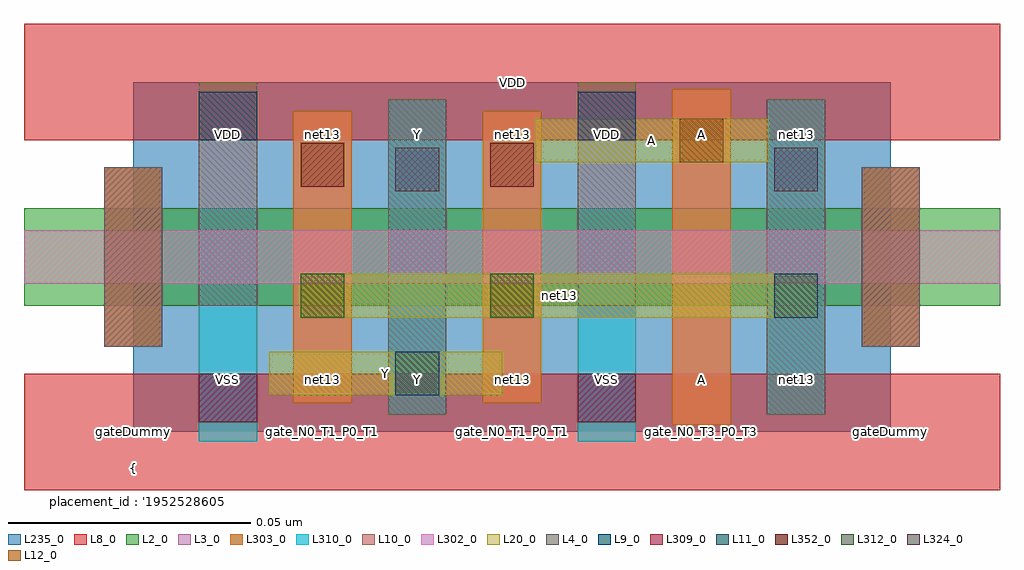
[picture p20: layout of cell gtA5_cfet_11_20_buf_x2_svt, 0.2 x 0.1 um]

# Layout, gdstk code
import gdstk
lib = gdstk.Library(unit=1e-6, precision=2.5e-10)
def R(c, l, rs):  # rectangles x0, y0, x1, y1
    for r in rs: c.add(gdstk.rectangle(r[:2], r[2:], *l))
L2_0 = (2, 0)
L3_0 = (3, 0)
L4_0 = (4, 0)
L8_0 = (8, 0)
L9_0 = (9, 0)
L10_0 = (10, 0)
L11_0 = (11, 0)
L12_0 = (12, 0)
L20_0 = (20, 0)
L235_0 = (235, 0)
L302_0 = (302, 0)
L303_0 = (303, 0)
L309_0 = (309, 0)
L310_0 = (310, 0)
L312_0 = (312, 0)
L324_0 = (324, 0)
L352_0 = (352, 0)

gta5_cfet_11_20_buf_x2_s = lib.new_cell('gtA5_cfet_11_20_buf_x2_svt')
R(gta5_cfet_11_20_buf_x2_s, L2_0, [(-0.0225,0.026,0.1785,0.046)])
R(gta5_cfet_11_20_buf_x2_s, L3_0, [(0.111,0.0015,0.123,0.0705), (0.033,0.006,0.045,0.066), (0.072,0.006,0.084,0.066), (-0.006,0.0175,0.006,0.0545), (0.15,0.0175,0.162,0.0545)])
R(gta5_cfet_11_20_buf_x2_s, L4_0, [(-0.006,0.0175,0.006,0.0545), (0.15,0.0175,0.162,0.0545)])
R(gta5_cfet_11_20_buf_x2_s, L8_0, [(-0.0225,-0.012,0.1785,0.012), (-0.0225,0.06,0.1785,0.084)])
R(gta5_cfet_11_20_buf_x2_s, L9_0, [(0.0135,0.06,0.0255,0.07), (0.0915,0.06,0.1035,0.07)])
R(gta5_cfet_11_20_buf_x2_s, L10_0, [(0.0525,0.0035,0.0645,0.0685), (0.1305,0.0035,0.1425,0.0685), (0.0135,0.026,0.0255,0.072), (0.0915,0.026,0.1035,0.072)])
R(gta5_cfet_11_20_buf_x2_s, L11_0, [(0.054,0.0075,0.063,0.0165), (0.132,0.0235,0.141,0.0325)])
R(gta5_cfet_11_20_buf_x2_s, L12_0, [(0.1125,0.0555,0.1215,0.0645)])
R(gta5_cfet_11_20_buf_x2_s, L20_0, [(0.028,0.0075,0.076,0.0165), (0.0345,0.0235,0.141,0.0325), (0.0828,0.0555,0.1308,0.0645)])
R(gta5_cfet_11_20_buf_x2_s, L235_0, [(0,0,0.156,0.072)])
R(gta5_cfet_11_20_buf_x2_s, L302_0, [(-0.0225,0.0305,0.1785,0.0415)])
R(gta5_cfet_11_20_buf_x2_s, L303_0, [(0.111,0.0015,0.123,0.0705), (0.033,0.006,0.045,0.066), (0.072,0.006,0.084,0.066), (-0.006,0.0175,0.006,0.0545), (0.15,0.0175,0.162,0.0545)])
R(gta5_cfet_11_20_buf_x2_s, L309_0, [(0.0135,0.002,0.0255,0.012), (0.0915,0.002,0.1035,0.012)])
R(gta5_cfet_11_20_buf_x2_s, L310_0, [(0.0135,-0.002,0.0255,0.046), (0.0915,-0.002,0.1035,0.046), (0.0525,0.0035,0.0645,0.0685), (0.1305,0.0035,0.1425,0.0685)])
R(gta5_cfet_11_20_buf_x2_s, L312_0, [(0.0345,0.0235,0.0435,0.0325), (0.0735,0.0235,0.0825,0.0325)])
R(gta5_cfet_11_20_buf_x2_s, L324_0, [(0.054,0.0495,0.063,0.0585), (0.132,0.0495,0.141,0.0585)])
R(gta5_cfet_11_20_buf_x2_s, L352_0, [(0.0345,0.0505,0.0435,0.0595), (0.0735,0.0505,0.0825,0.0595)])
gta5_cfet_11_20_buf_x2_s.add(gdstk.Label('net13', (0.0878,0.028), layer=100, texttype=100))
gta5_cfet_11_20_buf_x2_s.add(gdstk.Label('gateDummy', (0,0), layer=103, texttype=103))
gta5_cfet_11_20_buf_x2_s.add(gdstk.Label('sd_N0_VSS_P0_VDD', (0.0195,0), layer=103, texttype=103))
gta5_cfet_11_20_buf_x2_s.add(gdstk.Label('gate_N0_T1_P0_T1', (0.039,0), layer=103, texttype=103))
gta5_cfet_11_20_buf_x2_s.add(gdstk.Label('sd_N0_T0_P0_T0', (0.0585,0), layer=103, texttype=103))
gta5_cfet_11_20_buf_x2_s.add(gdstk.Label('gate_N0_T1_P0_T1', (0.078,0), layer=103, texttype=103))
gta5_cfet_11_20_buf_x2_s.add(gdstk.Label('sd_N0_VSS_P0_VDD', (0.0975,0), layer=103, texttype=103))
gta5_cfet_11_20_buf_x2_s.add(gdstk.Label('gate_N0_T3_P0_T3', (0.117,0), layer=103, texttype=103))
gta5_cfet_11_20_buf_x2_s.add(gdstk.Label('sd_N0_T1_P0_T1', (0.1365,0), layer=103, texttype=103))
gta5_cfet_11_20_buf_x2_s.add(gdstk.Label('gateDummy', (0.156,0), layer=103, texttype=103))
gta5_cfet_11_20_buf_x2_s.add(gdstk.Label('}', (0,-0.0785), layer=104, texttype=104))
gta5_cfet_11_20_buf_x2_s.add(gdstk.Label('  power : None', (0,-0.0713), layer=104, texttype=104))
gta5_cfet_11_20_buf_x2_s.add(gdstk.Label('  performance : None', (0,-0.0643), layer=104, texttype=104))
gta5_cfet_11_20_buf_x2_s.add(gdstk.Label("  solution_hash : '777224492369350147'", (0,-0.057), layer=104, texttype=104))
gta5_cfet_11_20_buf_x2_s.add(gdstk.Label('  number_m2 : 0', (0,-0.05), layer=104, texttype=104))
gta5_cfet_11_20_buf_x2_s.add(gdstk.Label('  number_m1 : 0', (0,-0.0428), layer=104, texttype=104))
gta5_cfet_11_20_buf_x2_s.add(gdstk.Label('  number_m0cuts : 0', (0,-0.0358), layer=104, texttype=104))
gta5_cfet_11_20_buf_x2_s.add(gdstk.Label('  number_m0 : 3', (0,-0.0285), layer=104, texttype=104))
gta5_cfet_11_20_buf_x2_s.add(gdstk.Label("  solution_number : '0000'", (0,-0.0215), layer=104, texttype=104))
gta5_cfet_11_20_buf_x2_s.add(gdstk.Label("  placement_id : '1952528605668342253'", (0,-0.0143), layer=104, texttype=104))
gta5_cfet_11_20_buf_x2_s.add(gdstk.Label('{', (0,-0.0073), layer=104, texttype=104))
gta5_cfet_11_20_buf_x2_s.add(gdstk.Label('VSS', (0.0195,0.0108), layer=105, texttype=105))
gta5_cfet_11_20_buf_x2_s.add(gdstk.Label('net13', (0.039,0.0108), layer=105, texttype=105))
gta5_cfet_11_20_buf_x2_s.add(gdstk.Label('Y', (0.0585,0.0108), layer=105, texttype=105))
gta5_cfet_11_20_buf_x2_s.add(gdstk.Label('net13', (0.078,0.0108), layer=105, texttype=105))
gta5_cfet_11_20_buf_x2_s.add(gdstk.Label('VSS', (0.0975,0.0108), layer=105, texttype=105))
gta5_cfet_11_20_buf_x2_s.add(gdstk.Label('A', (0.117,0.0108), layer=105, texttype=105))
gta5_cfet_11_20_buf_x2_s.add(gdstk.Label('net13', (0.1365,0.0108), layer=105, texttype=105))
gta5_cfet_11_20_buf_x2_s.add(gdstk.Label('VDD', (0.0195,0.0612), layer=105, texttype=105))
gta5_cfet_11_20_buf_x2_s.add(gdstk.Label('net13', (0.039,0.0612), layer=105, texttype=105))
gta5_cfet_11_20_buf_x2_s.add(gdstk.Label('Y', (0.0585,0.0612), layer=105, texttype=105))
gta5_cfet_11_20_buf_x2_s.add(gdstk.Label('net13', (0.078,0.0612), layer=105, texttype=105))
gta5_cfet_11_20_buf_x2_s.add(gdstk.Label('VDD', (0.0975,0.0612), layer=105, texttype=105))
gta5_cfet_11_20_buf_x2_s.add(gdstk.Label('A', (0.117,0.0612), layer=105, texttype=105))
gta5_cfet_11_20_buf_x2_s.add(gdstk.Label('net13', (0.1365,0.0612), layer=105, texttype=105))
gta5_cfet_11_20_buf_x2_s.add(gdstk.Label('VSS', (0.078,0), layer=8, texttype=0))
gta5_cfet_11_20_buf_x2_s.add(gdstk.Label('VDD', (0.078,0.072), layer=8, texttype=0))
gta5_cfet_11_20_buf_x2_s.add(gdstk.Label('Y', (0.052,0.012), layer=20, texttype=251))
gta5_cfet_11_20_buf_x2_s.add(gdstk.Label('A', (0.1067,0.06), layer=20, texttype=251))
gta5_cfet_11_20_buf_x2_s.add(gdstk.Label('gtA5_cfet_11_20_buf_x2_rvt_0', (0,0), layer=235, texttype=0))

lib.write_gds('gtA5_cfet_11_20_buf_x2_svt.gds')
